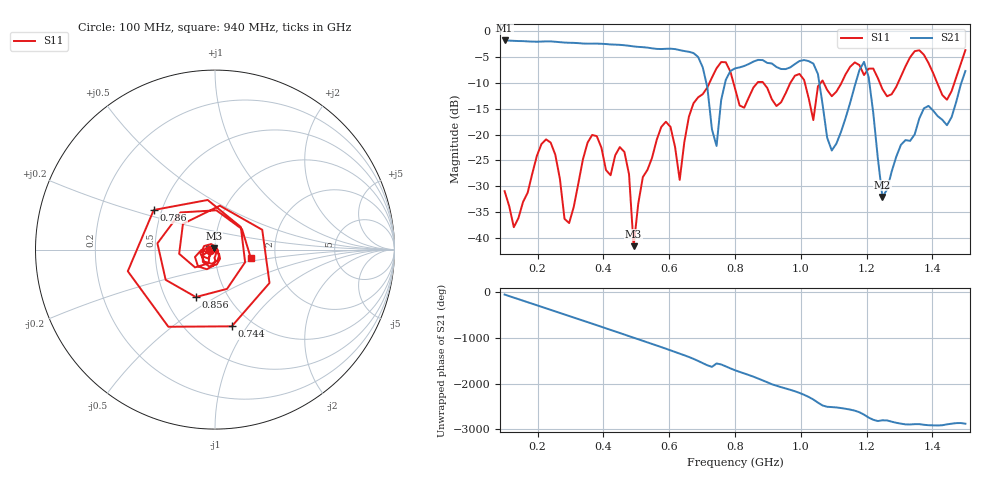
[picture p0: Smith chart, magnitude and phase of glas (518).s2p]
! NanoVNA-App
! Date: 2025-09-25 15:59:30
! Start: 100MHz Stop: 1,5GHz Points: 101
! S-Parameter data: F S11 S21 S12 S22
# Hz S RI R 50
!  Frequency  S11_Real  S11_Imag  S21_Real  S21_Imag  S12_Real  S12_Imag  S22_Real  S22_Imag
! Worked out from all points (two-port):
!   101 points, 100 MHz to 1.5 GHz, reference 50 ohm
!   highest |S21| = -1.80 dB at 100 MHz (marker M1); lowest = -32.1 dB at 1.248 GHz (marker M2)
!   |S21| within 3 dB of the highest: start of sweep to 684.3 MHz
!   lowest |S11| = -41.6 dB at 492 MHz (marker M3), VSWR 1.02, Z = 49.5 + j0.63 ohm
!   |S11| at or under -10 dB: start of sweep to 722.5 MHz; 795.4 MHz to 867.8 MHz (72.43 MHz wide, 8.71 % of centre); 886.1 MHz to 968.2 MHz (82.04 MHz wide, 8.85 % of centre)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
!   S12 and S22 are empty: the file has one direction only
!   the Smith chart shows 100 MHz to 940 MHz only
!   S11 on the Smith chart (normalised r, x): 100 MHz: 0.95, -0.01; 744 MHz: 0.80, -0.85; 786 MHz: 0.45, +0.24; 856 MHz: 0.71, -0.41; 940 MHz: 1.49, -0.15
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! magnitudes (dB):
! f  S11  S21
! 100 MHz  -30.9  -1.8
! 128 MHz  -37.9  -1.9
! 226 MHz  -20.9  -2.0
! 296 MHz  -37.1  -2.2
! 338 MHz  -24.8  -2.4
! 464 MHz  -23.4  -2.7
! 492 MHz  -41.6  -3.0
! 576 MHz  -18.5  -3.5
! 632 MHz  -28.8  -3.7
! 702 MHz  -12.2  -7.0
! 744 MHz  -7.2  -22.2
! 786 MHz  -7.8  -7.7
! 800 MHz  -11.1  -7.2
! 856 MHz  -10.9  -5.9
! 940 MHz  -13.8  -7.3
! 1.038 GHz  -17.2  -6.3
! 1.094 GHz  -12.6  -23.1
! 1.192 GHz  -8.5  -5.9
! 1.248 GHz  -11.2  -32.1
! 1.276 GHz  -12.2  -27.1
! 1.444 GHz  -13.3  -18.2
! 1.5 GHz  -3.7  -7.7
